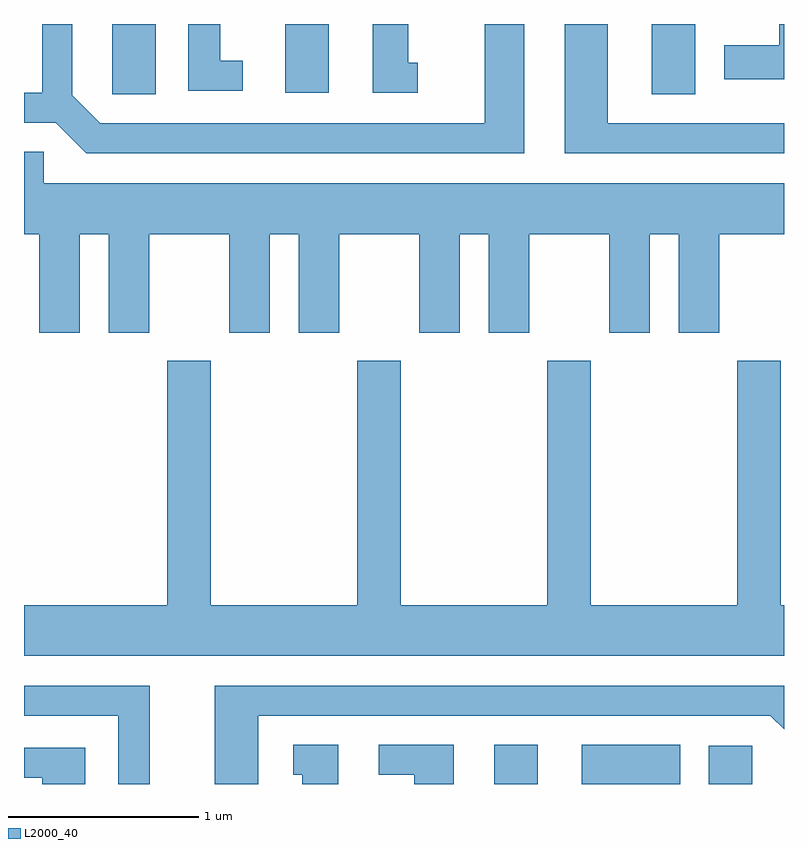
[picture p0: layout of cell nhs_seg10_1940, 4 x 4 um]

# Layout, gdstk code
import gdstk
lib = gdstk.Library(unit=1e-6, precision=1e-09)
def R(c, l, rs):  # rectangles x0, y0, x1, y1
    for r in rs: c.add(gdstk.rectangle(r[:2], r[2:], *l))
def P(c, l, *ps):  # polygons
    for p in ps: c.add(gdstk.Polygon(p, *l))
L2000_40 = (2000, 40)

nhs_seg10_1940 = lib.new_cell('nhs_seg10_1940')
R(nhs_seg10_1940, L2000_40, [(244.086,2166.522,244.314,2166.729), (244.546,2166.522,245.064,2166.729), (245.216,2166.522,245.444,2166.724), (242.076,2170.151,242.304,2170.522), (244.916,2170.151,245.144,2170.522), (242.986,2170.161,243.214,2170.522)])
P(nhs_seg10_1940, L2000_40, [(243.683,2170.319),(243.634,2170.319),(243.634,2170.522),(243.446,2170.522),(243.446,2170.161),(243.683,2170.161)],
  [(245.611,2170.522),(245.586,2170.522),(245.586,2170.409),(245.296,2170.409),(245.296,2170.231),(245.611,2170.231)],
  [(244.244,2170.522),(244.036,2170.522),(244.036,2169.999),(242.012,2169.999),(241.864,2170.147),(241.864,2170.522),(241.706,2170.522),(241.706,2170.159),(241.611,2170.159),(241.611,2170.001),(241.779,2170.001),(241.939,2169.841),(244.244,2169.841)],
  [(245.611,2169.999),(244.684,2169.999),(244.684,2170.522),(244.456,2170.522),(244.456,2169.841),(245.611,2169.841)],
  [(242.763,2170.329),(242.644,2170.329),(242.644,2170.522),(242.476,2170.522),(242.476,2170.171),(242.763,2170.171)],
  [(241.904,2169.416),(242.056,2169.416),(242.056,2168.896),(242.269,2168.896),(242.269,2169.416),(242.691,2169.416),(242.691,2168.896),(242.904,2168.896),(242.904,2169.416),(243.056,2169.416),(243.056,2168.896),(243.269,2168.896),(243.269,2169.416),(243.691,2169.416),(243.691,2168.896),(243.904,2168.896),(243.904,2169.416),(244.056,2169.416),(244.056,2168.896),(244.269,2168.896),(244.269,2169.416),(244.691,2169.416),(244.691,2168.896),(244.904,2168.896),(244.904,2169.416),(245.056,2169.416),(245.056,2168.896),(245.269,2168.896),(245.269,2169.416),(245.611,2169.416),(245.611,2169.684),(241.714,2169.684),(241.714,2169.849),(241.611,2169.849),(241.611,2169.416),(241.691,2169.416),(241.691,2168.896),(241.904,2168.896)],
  [(245.611,2167.464),(245.594,2167.464),(245.594,2168.749),(245.366,2168.749),(245.366,2167.464),(244.594,2167.464),(244.594,2168.749),(244.366,2168.749),(244.366,2167.464),(243.594,2167.464),(243.594,2168.749),(243.366,2168.749),(243.366,2167.464),(242.594,2167.464),(242.594,2168.749),(242.366,2168.749),(242.366,2167.464),(241.611,2167.464),(241.611,2167.196),(245.611,2167.196)],
  [(242.844,2166.881),(245.539,2166.881),(245.611,2166.809),(245.611,2167.039),(242.616,2167.039),(242.616,2166.522),(242.844,2166.522)],
  [(242.274,2167.039),(241.611,2167.039),(241.611,2166.881),(242.106,2166.881),(242.106,2166.522),(242.274,2166.522)],
  [(243.874,2166.729),(243.478,2166.729),(243.478,2166.571),(243.666,2166.571),(243.666,2166.522),(243.874,2166.522)],
  [(243.264,2166.729),(243.028,2166.729),(243.028,2166.571),(243.076,2166.571),(243.076,2166.522),(243.264,2166.522)],
  [(241.934,2166.714),(241.611,2166.714),(241.611,2166.556),(241.706,2166.556),(241.706,2166.522),(241.934,2166.522)])

lib.write_gds('nhs_seg10_1940.gds')
